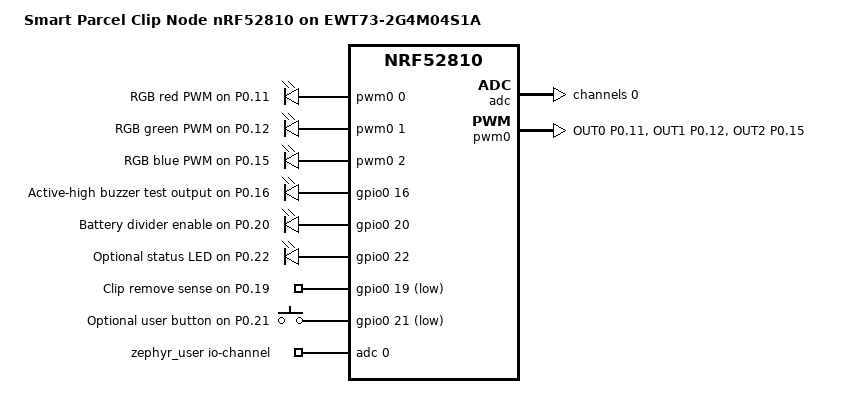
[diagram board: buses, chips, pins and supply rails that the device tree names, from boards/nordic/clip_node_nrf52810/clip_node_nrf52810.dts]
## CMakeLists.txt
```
cmake_minimum_required(VERSION 3.20.0)

list(APPEND BOARD_ROOT ${CMAKE_CURRENT_SOURCE_DIR})

find_package(Zephyr REQUIRED HINTS $ENV{ZEPHYR_BASE})
project(clip_node_nrf52810)

target_sources(app PRIVATE
  src/main.c
  src/early_gpio_test.c
  src/clip_state.c
  src/ble_clip_service.c
  src/led_rgb.c
  src/buzzer.c
  src/remove_sensor.c
  src/battery_monitor.c
  src/clip_protocol.c
)
```

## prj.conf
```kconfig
# Core runtime
CONFIG_MAIN_STACK_SIZE=768
CONFIG_HEAP_MEM_POOL_SIZE=256

# Logging
CONFIG_LOG=n
CONFIG_USE_SEGGER_RTT=n
CONFIG_LOG_BACKEND_RTT=n

# BLE Peripheral for the first real hardware loop.
CONFIG_BT=y
CONFIG_BT_PERIPHERAL=y
CONFIG_BT_DEVICE_NAME="SPS-F02-20260611-0001"
CONFIG_BT_MAX_CONN=1

# GPIO / PWM / ADC hardware validation
CONFIG_GPIO=y
CONFIG_PWM=y
CONFIG_ADC=y
CONFIG_CLOCK_CONTROL_NRF_K32SRC_RC=y
# CONFIG_CLOCK_CONTROL_NRF_K32SRC_XTAL is not set

# Workqueue and debug
CONFIG_SYSTEM_WORKQUEUE_STACK_SIZE=768
CONFIG_ASSERT=n
```

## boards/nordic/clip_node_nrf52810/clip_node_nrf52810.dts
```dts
/dts-v1/;
#include <nordic/nrf52810_qfaa.dtsi>
#include <zephyr/dt-bindings/adc/adc.h>
#include <zephyr/dt-bindings/adc/nrf-saadc.h>
#include <zephyr/dt-bindings/gpio/gpio.h>
#include <zephyr/dt-bindings/pinctrl/nrf-pinctrl.h>
#include <zephyr/dt-bindings/pwm/pwm.h>

/ {
	model = "Smart Parcel Clip Node nRF52810 on EWT73-2G4M04S1A";
	compatible = "smartparcel,clip-node-nrf52810";

	chosen {
		zephyr,sram = &sram0;
		zephyr,flash = &flash0;
	};

	aliases {
		watchdog0 = &wdt0;
		led-red-pwm = &led_r_pwm;
		led-green-pwm = &led_g_pwm;
		led-blue-pwm = &led_b_pwm;
		buzzer-gpio = &buzzer_gpio;
		remove-sense = &remove_sense;
		bat-adc = &zephyr_user;
		bat-div-en = &bat_div_en;
		user-btn = &user_btn;
		status-led = &status_led;
	};

	pwm_leds {
		compatible = "pwm-leds";

		led_r_pwm: led_r_pwm {
			pwms = <&pwm0 0 PWM_MSEC(1) PWM_POLARITY_NORMAL>;
			label = "RGB red PWM on P0.11";
		};

		led_g_pwm: led_g_pwm {
			pwms = <&pwm0 1 PWM_MSEC(1) PWM_POLARITY_NORMAL>;
			label = "RGB green PWM on P0.12";
		};

		led_b_pwm: led_b_pwm {
			pwms = <&pwm0 2 PWM_MSEC(1) PWM_POLARITY_NORMAL>;
			label = "RGB blue PWM on P0.15";
		};
	};

	clip_outputs {
		compatible = "gpio-leds";

		buzzer_gpio: buzzer_gpio {
			gpios = <&gpio0 16 GPIO_ACTIVE_HIGH>;
			label = "Active-high buzzer test output on P0.16";
		};

		bat_div_en: bat_div_en {
			gpios = <&gpio0 20 GPIO_ACTIVE_HIGH>;
			label = "Battery divider enable on P0.20";
		};

		status_led: status_led {
			gpios = <&gpio0 22 GPIO_ACTIVE_HIGH>;
			label = "Optional status LED on P0.22";
		};
	};

	clip_inputs {
		compatible = "gpio-keys";

		remove_sense: remove_sense {
			gpios = <&gpio0 19 (GPIO_PULL_UP | GPIO_ACTIVE_LOW)>;
			label = "Clip remove sense on P0.19";
		};

		user_btn: user_btn {
			gpios = <&gpio0 21 (GPIO_PULL_UP | GPIO_ACTIVE_LOW)>;
			label = "Optional user button on P0.21";
		};
	};

	zephyr_user: zephyr,user {
		io-channels = <&adc 0>;
	};
};

&adc {
	status = "okay";
	#address-cells = <1>;
	#size-cells = <0>;

	channel@0 {
		reg = <0>;
		zephyr,gain = "ADC_GAIN_1_6";
		zephyr,reference = "ADC_REF_INTERNAL";
		zephyr,acquisition-time = <ADC_ACQ_TIME_DEFAULT>;
		zephyr,input-positive = <NRF_SAADC_AIN0>;
	};
};

&gpiote {
	status = "okay";
};

&gpio0 {
	status = "okay";
};

&pinctrl {
	pwm0_default: pwm0_default {
		group1 {
			psels = <NRF_PSEL(PWM_OUT0, 0, 11)>,
				<NRF_PSEL(PWM_OUT1, 0, 12)>,
				<NRF_PSEL(PWM_OUT2, 0, 15)>;
		};
	};

	pwm0_sleep: pwm0_sleep {
		group1 {
			psels = <NRF_PSEL(PWM_OUT0, 0, 11)>,
				<NRF_PSEL(PWM_OUT1, 0, 12)>,
				<NRF_PSEL(PWM_OUT2, 0, 15)>;
			low-power-enable;
		};
	};
};

&pwm0 {
	status = "okay";
	pinctrl-0 = <&pwm0_default>;
	pinctrl-1 = <&pwm0_sleep>;
	pinctrl-names = "default", "sleep";
};

&uart0 {
	status = "disabled";
};
```

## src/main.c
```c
#include <zephyr/kernel.h>
#include <zephyr/logging/log.h>

#include "buzzer.h"
#include "battery_monitor.h"
#include "ble_clip_service.h"
#include "clip_protocol.h"
#include "clip_state.h"
#include "led_rgb.h"
#include "remove_sensor.h"

LOG_MODULE_REGISTER(main_app, LOG_LEVEL_INF);

#define ALERT_MAX_DURATION_MS 30000U
#define BINDING_TOKEN_MAX_LEN 8U

typedef struct {
    uint32_t tag_id;
    uint8_t binding_token[BINDING_TOKEN_MAX_LEN];
    uint8_t binding_token_len;
    uint8_t device_config;
    clip_state_t last_state;
    bool bound;
} clip_runtime_store_t;

static clip_runtime_store_t runtime_store = {
    .tag_id = 0x00000001,
};

static struct k_work_delayable alert_timeout_work;

static void send_event_simple(uint8_t event_id, const uint8_t *payload, uint8_t len)
{
    uint8_t frame[32];
    uint8_t frame_len = clip_protocol_build_event(event_id, payload, len, frame, sizeof(frame));

    if (frame_len > 0) {
        ble_clip_service_send_event(frame, frame_len);
    }
}

static clip_state_t default_non_alert_state(void)
{
    return runtime_store.bound ? CLIP_STATE_BOUND : CLIP_STATE_IDLE;
}

static void set_state(clip_state_t new_state)
{
    clip_state_set(new_state);
    runtime_store.last_state = new_state;
}

static void stop_alert_outputs(void)
{
    k_work_cancel_delayable(&alert_timeout_work);
    /*
     * Buzzer output is intentionally disabled during the current BLE bring-up
     * stage. Battery drive capability is not yet sufficient to support the
     * buzzer load together with the rest of the system behavior.
     */
    /* buzzer_stop(); */
    led_rgb_off();
}

static void stop_alert_and_restore_state(void)
{
    stop_alert_outputs();
    set_state(default_non_alert_state());
}

static void alert_timeout_handler(struct k_work *work)
{
    ARG_UNUSED(work);
    LOG_INF("WAKE_TAG timeout reached, stopping alert");
    stop_alert_and_restore_state();
}

static void start_finding_alert(void)
{
    set_state(CLIP_STATE_ALERTING);
    led_rgb_effect_finding();
    /* buzzer_play(BUZZER_PATTERN_ALERT); */
    k_work_reschedule(&alert_timeout_work, K_MSEC(ALERT_MAX_DURATION_MS));
}

static void send_status_report(void)
{
    uint16_t millivolts = 0;
    battery_state_t battery_state = battery_monitor_sample_once_mv(&millivolts);
    uint8_t battery_payload[3] = {
        (uint8_t)battery_state,
        (uint8_t)(millivolts & 0xFFU),
        (uint8_t)(millivolts >> 8),
    };

    if (battery_state != BATTERY_STATE_OK) {
        set_state(CLIP_STATE_LOW_BATTERY);
        send_event_simple(CLIP_EVT_BATTERY_LOW, battery_payload, sizeof(battery_payload));
    }

    uint8_t payload[8] = {
        (uint8_t)clip_state_get(),
        (uint8_t)battery_state,
        runtime_store.bound ? 1U : 0U,
        remove_sensor_is_removed() ? 1U : 0U,
        (uint8_t)(millivolts & 0xFFU),
        (uint8_t)(millivolts >> 8),
        (uint8_t)(runtime_store.tag_id & 0xFFU),
        (uint8_t)((runtime_store.tag_id >> 8) & 0xFFU),
    };

    send_event_simple(CLIP_EVT_STATUS_REPORT, payload, sizeof(payload));
}

static void send_ack(uint8_t command, uint8_t status)
{
    uint8_t ack[2] = {command, status};
    send_event_simple(CLIP_EVT_COMMAND_ACK, ack, sizeof(ack));
}

static void handle_remove_change(bool removed)
{
    if (removed) {
        set_state(CLIP_STATE_REMOVED);
        send_event_simple(CLIP_EVT_CLIP_REMOVED, NULL, 0);
        return;
    }

    set_state(CLIP_STATE_CONFIRMED);
    send_event_simple(CLIP_EVT_CLIP_RETURNED, NULL, 0);
}

static void set_binding(const clip_command_frame_t *cmd)
{
    uint8_t token_len = cmd->len;

    if (token_len > BINDING_TOKEN_MAX_LEN) {
        token_len = BINDING_TOKEN_MAX_LEN;
    }

    for (uint8_t index = 0; index < token_len; index++) {
        runtime_store.binding_token[index] = cmd->payload[index];
    }

    runtime_store.binding_token_len = token_len;
    runtime_store.bound = true;
    set_state(CLIP_STATE_BOUND);
    LOG_INF("binding token updated, len=%u", token_len);
}

static void clear_binding(void)
{
    for (uint8_t index = 0; index < BINDING_TOKEN_MAX_LEN; index++) {
        runtime_store.binding_token[index] = 0;
    }

    runtime_store.binding_token_len = 0;
    runtime_store.bound = false;
    set_state(CLIP_STATE_IDLE);
    LOG_INF("binding cleared");
}

static void handle_command_frame(const uint8_t *data, uint8_t len)
{
    uint8_t ack_status = 0x00;
    clip_command_frame_t cmd = {0};

    if (!clip_protocol_parse_command(data, len, &cmd)) {
        LOG_WRN("invalid command frame");
        return;
    }

    LOG_INF("command recv: 0x%02x len=%u", cmd.cmd, cmd.len);

    switch (cmd.cmd) {
    case CLIP_CMD_PING:
        send_event_simple(CLIP_EVT_PONG, NULL, 0);
        break;
    case CLIP_CMD_WAKE_TAG:
        start_finding_alert();
        break;
    case CLIP_CMD_STOP_ALERT:
        stop_alert_and_restore_state();
        break;
    case CLIP_CMD_SET_BINDING:
        set_binding(&cmd);
        break;
    case CLIP_CMD_CLEAR_BINDING:
        clear_binding();
        break;
    case CLIP_CMD_READ_STATUS:
        send_status_report();
        break;
    default:
        ack_status = 0x01;
        set_state(CLIP_STATE_EXCEPTION);
        led_rgb_effect_exception();
        break;
    }

    send_ack(cmd.cmd, ack_status);
}

int main(void)
{
    LOG_INF("clip node boot: EWT73-2G4M04S1A / E73-2G4M04S1A");
    LOG_INF("BLE name: %s", CONFIG_BT_DEVICE_NAME);

    k_work_init_delayable(&alert_timeout_work, alert_timeout_handler);

    clip_state_init();
    /* buzzer_init(); */
    led_rgb_init();
    remove_sensor_init(handle_remove_change);
    battery_monitor_init();

    runtime_store.last_state = clip_state_get();

    if (ble_clip_service_init(handle_command_frame) != 0) {
        set_state(CLIP_STATE_EXCEPTION);
    }

    send_event_simple(CLIP_EVT_BOOT, NULL, 0);

    while (1) {
        remove_sensor_poll_once();
        k_sleep(K_MSEC(200));
    }

    return 0;
}
```

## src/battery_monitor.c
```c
#include "battery_monitor.h"

#include <zephyr/devicetree.h>
#include <zephyr/drivers/adc.h>
#include <zephyr/drivers/gpio.h>
#include <zephyr/kernel.h>
#include <zephyr/logging/log.h>

LOG_MODULE_REGISTER(battery_monitor, LOG_LEVEL_INF);

#define BATTERY_LOW_MV_MIN       2700
#define BATTERY_CRITICAL_MV_MIN  2400
#define BATTERY_DIVIDER_NUM      2
#define BATTERY_DIVIDER_DEN      1

static const struct adc_dt_spec battery_adc = ADC_DT_SPEC_GET_BY_IDX(DT_ALIAS(bat_adc), 0);
static const struct gpio_dt_spec divider_enable_gpio = GPIO_DT_SPEC_GET(DT_ALIAS(bat_div_en), gpios);

static battery_state_t battery_state = BATTERY_STATE_OK;

static battery_state_t convert_mv_to_state(uint16_t millivolts)
{
    if (millivolts < BATTERY_CRITICAL_MV_MIN) {
        return BATTERY_STATE_CRITICAL;
    }
    if (millivolts < BATTERY_LOW_MV_MIN) {
        return BATTERY_STATE_LOW;
    }
    return BATTERY_STATE_OK;
}

static void set_divider_enabled(bool enabled)
{
    if (gpio_is_ready_dt(&divider_enable_gpio)) {
        (void)gpio_pin_set_dt(&divider_enable_gpio, enabled ? 1 : 0);
    }
}

void battery_monitor_init(void)
{
    if (!gpio_is_ready_dt(&divider_enable_gpio)) {
        LOG_ERR("battery divider GPIO is not ready");
    } else {
        (void)gpio_pin_configure_dt(&divider_enable_gpio, GPIO_OUTPUT_INACTIVE);
    }

    if (!adc_is_ready_dt(&battery_adc)) {
        LOG_ERR("battery ADC is not ready");
    } else {
        int err = adc_channel_setup_dt(&battery_adc);
        if (err) {
            LOG_ERR("battery ADC channel setup failed: %d", err);
        }
    }

    LOG_INF("battery monitor init on P0.02/AIN0, divider enable P0.20");
}

battery_state_t battery_monitor_sample_once_mv(uint16_t *out_mv)
{
    int16_t raw_sample = 0;
    int32_t millivolts = 0;
    int err;
    struct adc_sequence sequence = {
        .buffer = &raw_sample,
        .buffer_size = sizeof(raw_sample),
    };

    set_divider_enabled(true);
    k_sleep(K_MSEC(3));

    err = adc_sequence_init_dt(&battery_adc, &sequence);
    if (err == 0) {
        err = adc_read_dt(&battery_adc, &sequence);
    }

    set_divider_enabled(false);

    if (err) {
        LOG_ERR("battery ADC sample failed: %d", err);
        battery_state = BATTERY_STATE_CRITICAL;
        if (out_mv) {
            *out_mv = 0;
        }
        return battery_state;
    }

    millivolts = raw_sample;
    err = adc_raw_to_millivolts_dt(&battery_adc, &millivolts);
    if (err) {
        LOG_WRN("battery ADC mV conversion fallback, raw=%d err=%d", raw_sample, err);
        millivolts = 0;
    }

    millivolts = (millivolts * BATTERY_DIVIDER_NUM) / BATTERY_DIVIDER_DEN;
    if (millivolts < 0) {
        millivolts = 0;
    }
    if (millivolts > UINT16_MAX) {
        millivolts = UINT16_MAX;
    }

    battery_state = convert_mv_to_state((uint16_t)millivolts);

    if (out_mv) {
        *out_mv = (uint16_t)millivolts;
    }

    LOG_INF("battery sample: %u mV, state=%s",
            (uint16_t)millivolts,
            battery_monitor_state_to_string(battery_state));
    return battery_state;
}

battery_state_t battery_monitor_get_state(void)
{
    return battery_state;
}

const char *battery_monitor_state_to_string(battery_state_t state)
{
    switch (state) {
    case BATTERY_STATE_OK:
        return "OK";
    case BATTERY_STATE_LOW:
        return "LOW";
    case BATTERY_STATE_CRITICAL:
        return "CRITICAL";
    default:
        return "UNKNOWN";
    }
}
```

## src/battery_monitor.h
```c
#ifndef BATTERY_MONITOR_H
#define BATTERY_MONITOR_H

#include <stdint.h>

#ifdef __cplusplus
extern "C" {
#endif

typedef enum {
    BATTERY_STATE_OK = 0,
    BATTERY_STATE_LOW,
    BATTERY_STATE_CRITICAL,
} battery_state_t;

void battery_monitor_init(void);
battery_state_t battery_monitor_sample_once_mv(uint16_t *out_mv);
battery_state_t battery_monitor_get_state(void);
const char *battery_monitor_state_to_string(battery_state_t state);

#ifdef __cplusplus
}
#endif

#endif
```

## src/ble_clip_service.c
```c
#include "ble_clip_service.h"

#include <errno.h>
#include <string.h>
#include <zephyr/logging/log.h>
#include <zephyr/kernel.h>
#include <zephyr/sys/util.h>
#if IS_ENABLED(CONFIG_BT)
#include <zephyr/bluetooth/bluetooth.h>
#include <zephyr/bluetooth/conn.h>
#include <zephyr/bluetooth/gatt.h>
#include <zephyr/bluetooth/hci.h>
#endif

LOG_MODULE_REGISTER(ble_clip_service, LOG_LEVEL_INF);

static ble_clip_cmd_handler_t g_cmd_handler;

#if IS_ENABLED(CONFIG_BT)

#define BT_UUID_SPS_TAG_SERVICE_VAL \
    BT_UUID_128_ENCODE(0x8f7e9000, 0x5d1b, 0x4c2f, 0x9e8a, 0x5f2f5b7b0001)
#define BT_UUID_SPS_TAG_CMD_WRITE_VAL \
    BT_UUID_128_ENCODE(0x8f7e9001, 0x5d1b, 0x4c2f, 0x9e8a, 0x5f2f5b7b0001)
#define BT_UUID_SPS_TAG_EVENT_NOTIFY_VAL \
    BT_UUID_128_ENCODE(0x8f7e9002, 0x5d1b, 0x4c2f, 0x9e8a, 0x5f2f5b7b0001)
#define BT_UUID_SPS_TAG_STATUS_READ_VAL \
    BT_UUID_128_ENCODE(0x8f7e9003, 0x5d1b, 0x4c2f, 0x9e8a, 0x5f2f5b7b0001)

static struct bt_uuid_128 sps_tag_service_uuid = BT_UUID_INIT_128(BT_UUID_SPS_TAG_SERVICE_VAL);
static struct bt_uuid_128 sps_tag_cmd_write_uuid = BT_UUID_INIT_128(BT_UUID_SPS_TAG_CMD_WRITE_VAL);
static struct bt_uuid_128 sps_tag_event_notify_uuid = BT_UUID_INIT_128(BT_UUID_SPS_TAG_EVENT_NOTIFY_VAL);
static struct bt_uuid_128 sps_tag_status_read_uuid = BT_UUID_INIT_128(BT_UUID_SPS_TAG_STATUS_READ_VAL);

static struct bt_conn *current_conn;
static bool notify_enabled;
static uint8_t last_status_value[] = "SPS:OK";
static uint8_t last_event[20];
static uint8_t last_event_len;
static struct k_work_delayable advertising_work;

static ssize_t cmd_write(struct bt_conn *conn,
                         const struct bt_gatt_attr *attr,
                         const void *buf,
                         uint16_t len,
                         uint16_t offset,
                         uint8_t flags)
{
    ARG_UNUSED(conn);
    ARG_UNUSED(attr);
    ARG_UNUSED(flags);

    if (offset != 0U) {
        return BT_GATT_ERR(BT_ATT_ERR_INVALID_OFFSET);
    }

    if (!g_cmd_handler) {
        LOG_WRN("command received before handler registration");
        return len;
    }

    LOG_INF("GATT command write len=%u", len);
    g_cmd_handler((const uint8_t *)buf, (uint8_t)MIN(len, UINT8_MAX));
    return len;
}

static void event_ccc_changed(const struct bt_gatt_attr *attr, uint16_t value)
{
    ARG_UNUSED(attr);
    notify_enabled = (value == BT_GATT_CCC_NOTIFY);
    LOG_INF("event notify %s", notify_enabled ? "enabled" : "disabled");
}

static ssize_t status_read(struct bt_conn *conn,
                           const struct bt_gatt_attr *attr,
                           void *buf,
                           uint16_t len,
                           uint16_t offset)
{
    ARG_UNUSED(conn);
    ARG_UNUSED(attr);

    if (last_event_len > 0U) {
        return bt_gatt_attr_read(conn, attr, buf, len, offset, last_event, last_event_len);
    }

    return bt_gatt_attr_read(conn, attr, buf, len, offset, last_status_value, sizeof(last_status_value) - 1U);
}

BT_GATT_SERVICE_DEFINE(sps_tag_svc,
    BT_GATT_PRIMARY_SERVICE(&sps_tag_service_uuid.uuid),
    BT_GATT_CHARACTERISTIC(&sps_tag_cmd_write_uuid.uuid,
                           BT_GATT_CHRC_WRITE | BT_GATT_CHRC_WRITE_WITHOUT_RESP,
                           BT_GATT_PERM_WRITE,
                           NULL,
                           cmd_write,
                           NULL),
    BT_GATT_CHARACTERISTIC(&sps_tag_event_notify_uuid.uuid,
                           BT_GATT_CHRC_NOTIFY,
                           BT_GATT_PERM_NONE,
                           NULL,
                           NULL,
                           NULL),
    BT_GATT_CCC(event_ccc_changed, BT_GATT_PERM_READ | BT_GATT_PERM_WRITE),
    BT_GATT_CHARACTERISTIC(&sps_tag_status_read_uuid.uuid,
                           BT_GATT_CHRC_READ,
                           BT_GATT_PERM_READ,
                           status_read,
                           NULL,
                           NULL),
);

static const struct bt_data ad[] = {
    BT_DATA_BYTES(BT_DATA_FLAGS, (BT_LE_AD_GENERAL | BT_LE_AD_NO_BREDR)),
    BT_DATA_BYTES(BT_DATA_UUID128_ALL, BT_UUID_SPS_TAG_SERVICE_VAL),
};

static const struct bt_data sd[] = {
    BT_DATA(BT_DATA_NAME_COMPLETE, CONFIG_BT_DEVICE_NAME, sizeof(CONFIG_BT_DEVICE_NAME) - 1),
};

static int start_advertising_once(void)
{
    int err = bt_le_adv_start(BT_LE_ADV_CONN_FAST_1, ad, ARRAY_SIZE(ad), sd, ARRAY_SIZE(sd));

    if (err == -EALREADY) {
        return 0;
    }
    if (err) {
        LOG_ERR("advertising start failed: %d", err);
        return err;
    }

    LOG_INF("BLE advertising started");
    return 0;
}

static void advertising_work_handler(struct k_work *work)
{
    ARG_UNUSED(work);

    int err = start_advertising_once();
    if (err) {
        LOG_WRN("advertising restart failed: %d, retrying", err);
        k_work_schedule(&advertising_work, K_MSEC(500));
    }
}

static void schedule_advertising_restart(k_timeout_t delay)
{
    (void)k_work_reschedule(&advertising_work, delay);
}

static void connected(struct bt_conn *conn, uint8_t err)
{
    if (err) {
        LOG_WRN("BLE connection failed: %u", err);
        schedule_advertising_restart(K_MSEC(250));
        return;
    }

    current_conn = bt_conn_ref(conn);
    LOG_INF("BLE connected");
}

static void disconnected(struct bt_conn *conn, uint8_t reason)
{
    ARG_UNUSED(conn);

    if (current_conn) {
        bt_conn_unref(current_conn);
        current_conn = NULL;
    }

    notify_enabled = false;
    LOG_INF("BLE disconnected, reason=%u", reason);
    schedule_advertising_restart(K_MSEC(250));
}

BT_CONN_CB_DEFINE(conn_callbacks) = {
    .connected = connected,
    .disconnected = disconnected,
};

#endif

int ble_clip_service_init(ble_clip_cmd_handler_t handler)
{
    g_cmd_handler = handler;

#if IS_ENABLED(CONFIG_BT)
    int err = bt_enable(NULL);
    if (err) {
        LOG_ERR("bt_enable failed: %d", err);
        return err;
    }

    LOG_INF("BLE name: %s", CONFIG_BT_DEVICE_NAME);

    k_work_init_delayable(&advertising_work, advertising_work_handler);
    schedule_advertising_restart(K_NO_WAIT);
#endif

    LOG_INF("BLE init done (bt=%d)", IS_ENABLED(CONFIG_BT));
    return 0;
}

int ble_clip_service_send_event(const uint8_t *data, uint8_t len)
{
#if IS_ENABLED(CONFIG_BT)
    if (data && len > 0U) {
        last_event_len = MIN(len, sizeof(last_event));
        memcpy(last_event, data, last_event_len);
    }

    if (!notify_enabled) {
        LOG_INF("BLE event len=%u cached, notify not subscribed", len);
        return 0;
    }

    int err = bt_gatt_notify(NULL, &sps_tag_svc.attrs[4], data, len);
    if (err) {
        LOG_WRN("BLE notify failed: %d", err);
        return err;
    }
#else
    ARG_UNUSED(data);
#endif

    LOG_INF("BLE event sent, len=%u", len);
    return 0;
}

void ble_clip_service_mock_receive_cmd(const uint8_t *data, uint8_t len)
{
    if (!g_cmd_handler) {
        return;
    }

    g_cmd_handler(data, len);
}
```

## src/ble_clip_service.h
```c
#ifndef BLE_CLIP_SERVICE_H
#define BLE_CLIP_SERVICE_H

#include <stdint.h>

#ifdef __cplusplus
extern "C" {
#endif

typedef void (*ble_clip_cmd_handler_t)(const uint8_t *data, uint8_t len);

int ble_clip_service_init(ble_clip_cmd_handler_t handler);
int ble_clip_service_send_event(const uint8_t *data, uint8_t len);

/* 用于早期联调：模拟收到网关命令 */
void ble_clip_service_mock_receive_cmd(const uint8_t *data, uint8_t len);

#ifdef __cplusplus
}
#endif

#endif
```

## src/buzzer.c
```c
#include "buzzer.h"

#include <zephyr/devicetree.h>
#include <zephyr/drivers/gpio.h>
#include <zephyr/sys/util.h>

static const struct gpio_dt_spec buzzer_gpio = GPIO_DT_SPEC_GET(DT_ALIAS(buzzer_gpio), gpios);

static void set_buzzer_active(void)
{
    if (gpio_is_ready_dt(&buzzer_gpio)) {
        (void)gpio_pin_set_dt(&buzzer_gpio, 1);
    }
}

void buzzer_init(void)
{
    if (!gpio_is_ready_dt(&buzzer_gpio)) {
        return;
    }

    (void)gpio_pin_configure_dt(&buzzer_gpio, GPIO_OUTPUT_ACTIVE);
}

void buzzer_play(buzzer_pattern_t pattern)
{
    ARG_UNUSED(pattern);

    set_buzzer_active();
}

void buzzer_stop(void)
{
    set_buzzer_active();
}
```

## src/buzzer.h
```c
#ifndef BUZZER_H
#define BUZZER_H

#include <stdint.h>

#ifdef __cplusplus
extern "C" {
#endif

typedef enum {
    BUZZER_PATTERN_SUCCESS = 0,
    BUZZER_PATTERN_ERROR,
    BUZZER_PATTERN_ALERT,
    BUZZER_PATTERN_CRITICAL,
} buzzer_pattern_t;

void buzzer_init(void);
void buzzer_play(buzzer_pattern_t pattern);
void buzzer_stop(void);

#ifdef __cplusplus
}
#endif

#endif
```

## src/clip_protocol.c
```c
#include "clip_protocol.h"

static uint8_t protocol_xor_checksum(const uint8_t *data, uint8_t len)
{
    uint8_t v = 0;

    for (uint8_t i = 0; i < len; i++) {
        v ^= data[i];
    }

    return v;
}

bool clip_protocol_parse_command(const uint8_t *data, uint8_t size, clip_command_frame_t *out_cmd)
{
    if (!data || !out_cmd || size < 4) {
        return false;
    }

    if (data[0] != CLIP_PROTO_FRAME_HEADER) {
        return false;
    }

    uint8_t payload_len = data[2];
    if (payload_len > CLIP_PROTO_MAX_PAYLOAD_LEN) {
        return false;
    }

    uint8_t expected_size = (uint8_t)(4 + payload_len);
    if (size != expected_size) {
        return false;
    }

    uint8_t checksum = protocol_xor_checksum(data, (uint8_t)(3 + payload_len));
    if (checksum != data[3 + payload_len]) {
        return false;
    }

    out_cmd->cmd = data[1];
    out_cmd->len = payload_len;
    for (uint8_t i = 0; i < payload_len; i++) {
        out_cmd->payload[i] = data[3 + i];
    }

    return true;
}

uint8_t clip_protocol_build_event(uint8_t evt, const uint8_t *payload, uint8_t len, uint8_t *out_buf, uint8_t out_size)
{
    if (!out_buf || len > CLIP_PROTO_MAX_PAYLOAD_LEN) {
        return 0;
    }

    uint8_t total = (uint8_t)(4 + len);
    if (out_size < total) {
        return 0;
    }

    out_buf[0] = CLIP_PROTO_FRAME_HEADER;
    out_buf[1] = evt;
    out_buf[2] = len;

    for (uint8_t i = 0; i < len; i++) {
        out_buf[3 + i] = payload ? payload[i] : 0;
    }

    out_buf[3 + len] = protocol_xor_checksum(out_buf, (uint8_t)(3 + len));
    return total;
}
```

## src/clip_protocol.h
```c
#ifndef CLIP_PROTOCOL_H
#define CLIP_PROTOCOL_H

#include <stdbool.h>
#include <stdint.h>

#ifdef __cplusplus
extern "C" {
#endif

#define CLIP_PROTO_MAX_PAYLOAD_LEN 16
#define CLIP_PROTO_FRAME_HEADER    0xA5

typedef enum {
    CLIP_CMD_PING          = 0x01,
    CLIP_CMD_WAKE_TAG      = 0x02,
    CLIP_CMD_STOP_ALERT    = 0x03,
    CLIP_CMD_SET_BINDING   = 0x04,
    CLIP_CMD_CLEAR_BINDING = 0x05,
    CLIP_CMD_READ_STATUS   = 0x06,
} clip_command_t;

typedef enum {
    CLIP_EVT_BOOT                  = 0x81,
    CLIP_EVT_COMMAND_ACK           = 0x82,
    CLIP_EVT_CLIP_REMOVED          = 0x83,
    CLIP_EVT_CLIP_RETURNED         = 0x84,
    CLIP_EVT_BATTERY_LOW           = 0x85,
    CLIP_EVT_BATTERY_STATE_CHANGED = 0x86,
    CLIP_EVT_STATUS_REPORT         = 0x87,
    CLIP_EVT_PONG                  = 0x88,
} clip_event_t;

typedef struct {
    uint8_t cmd;
    uint8_t len;
    uint8_t payload[CLIP_PROTO_MAX_PAYLOAD_LEN];
} clip_command_frame_t;

bool clip_protocol_parse_command(const uint8_t *data, uint8_t size, clip_command_frame_t *out_cmd);
uint8_t clip_protocol_build_event(uint8_t evt, const uint8_t *payload, uint8_t len, uint8_t *out_buf, uint8_t out_size);

#ifdef __cplusplus
}
#endif

#endif
```

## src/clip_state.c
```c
#include "clip_state.h"

#include <zephyr/logging/log.h>

LOG_MODULE_REGISTER(clip_state, LOG_LEVEL_INF);

static clip_state_t g_state = CLIP_STATE_IDLE;

void clip_state_init(void)
{
    g_state = CLIP_STATE_IDLE;
    LOG_INF("state init: %s", clip_state_to_string(g_state));
}

clip_state_t clip_state_get(void)
{
    return g_state;
}

void clip_state_set(clip_state_t new_state)
{
    if (new_state == g_state) {
        return;
    }

    LOG_INF("state change: %s -> %s",
            clip_state_to_string(g_state),
            clip_state_to_string(new_state));
    g_state = new_state;
}

const char *clip_state_to_string(clip_state_t state)
{
    switch (state) {
    case CLIP_STATE_IDLE: return "idle";
    case CLIP_STATE_BOUND: return "bound";
    case CLIP_STATE_AUTHORIZED: return "authorized";
    case CLIP_STATE_ALERTING: return "alerting";
    case CLIP_STATE_REMOVED: return "removed";
    case CLIP_STATE_CONFIRMED: return "confirmed";
    case CLIP_STATE_LOW_BATTERY: return "low_battery";
    case CLIP_STATE_EXCEPTION: return "exception";
    default: return "unknown";
    }
}
```

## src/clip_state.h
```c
#ifndef CLIP_STATE_H
#define CLIP_STATE_H

#ifdef __cplusplus
extern "C" {
#endif

typedef enum {
    CLIP_STATE_IDLE = 0,
    CLIP_STATE_BOUND,
    CLIP_STATE_AUTHORIZED,
    CLIP_STATE_ALERTING,
    CLIP_STATE_REMOVED,
    CLIP_STATE_CONFIRMED,
    CLIP_STATE_LOW_BATTERY,
    CLIP_STATE_EXCEPTION,
} clip_state_t;

void clip_state_init(void);
clip_state_t clip_state_get(void);
void clip_state_set(clip_state_t new_state);
const char *clip_state_to_string(clip_state_t state);

#ifdef __cplusplus
}
#endif

#endif
```

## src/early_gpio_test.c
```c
#include <zephyr/init.h>
#include <hal/nrf_gpio.h>
#include <hal/nrf_power.h>

#define TEST_RGB_R_PIN 11
#define TEST_RGB_G_PIN 12
#define TEST_RGB_B_PIN 15
#define POWER_ON_RESET_MAGIC 0xA5U

static int early_gpio_test_init(void)
{
    uint32_t reset_marker = nrf_power_gpregret_get(NRF_POWER, 0U);

    if (reset_marker != POWER_ON_RESET_MAGIC) {
        nrf_power_gpregret_set(NRF_POWER, 0U, POWER_ON_RESET_MAGIC);
        NVIC_SystemReset();
    }

    nrf_power_gpregret_set(NRF_POWER, 0U, 0U);

    nrf_gpio_cfg_output(TEST_RGB_R_PIN);
    nrf_gpio_cfg_output(TEST_RGB_G_PIN);
    nrf_gpio_cfg_output(TEST_RGB_B_PIN);
    nrf_gpio_pin_clear(TEST_RGB_R_PIN);
    nrf_gpio_pin_clear(TEST_RGB_G_PIN);
    nrf_gpio_pin_clear(TEST_RGB_B_PIN);

    return 0;
}

SYS_INIT(early_gpio_test_init, PRE_KERNEL_1, 0);
```

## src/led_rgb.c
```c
#include "led_rgb.h"

#include <zephyr/devicetree.h>
#include <zephyr/drivers/pwm.h>
#include <zephyr/kernel.h>
#include <zephyr/logging/log.h>
#include <zephyr/sys/util.h>

LOG_MODULE_REGISTER(led_rgb, LOG_LEVEL_INF);

#define RGB_LEVEL_MAX 6
#define RGB_RAINBOW_STEP_MS 60U
#define RGB_RAINBOW_BLEND_STEPS 6U

static const struct pwm_dt_spec red_pwm = PWM_DT_SPEC_GET(DT_ALIAS(led_red_pwm));
static const struct pwm_dt_spec green_pwm = PWM_DT_SPEC_GET(DT_ALIAS(led_green_pwm));
static const struct pwm_dt_spec blue_pwm = PWM_DT_SPEC_GET(DT_ALIAS(led_blue_pwm));

static const uint8_t level_to_duty[7] = {0, 2, 5, 10, 20, 40, 70};
static const rgb_level_t rainbow_anchor_levels[] = {
    {.r = 6, .g = 0, .b = 0},
    {.r = 5, .g = 5, .b = 0},
    {.r = 0, .g = 6, .b = 0},
    {.r = 0, .g = 4, .b = 4},
    {.r = 0, .g = 0, .b = 6},
    {.r = 4, .g = 0, .b = 5},
    {.r = 6, .g = 0, .b = 2},
};

static struct k_work_delayable blink_work;
static rgb_level_t blink_level;
static uint32_t blink_on_ms;
static uint32_t blink_off_ms;
static uint8_t blink_cycles_left;
static bool blink_is_on;
static bool rainbow_enabled;
static uint8_t rainbow_index;
static uint8_t rainbow_blend_step;

static int set_one_pwm(const struct pwm_dt_spec *pwm, uint8_t level)
{
    uint32_t pulse_ns;

    if (!pwm_is_ready_dt(pwm)) {
        return -ENODEV;
    }

    pulse_ns = (pwm->period * level_to_duty[level]) / 100U;
    return pwm_set_dt(pwm, pwm->period, pulse_ns);
}

static void apply_level(rgb_level_t level)
{
    if (level.r > RGB_LEVEL_MAX) {
        level.r = RGB_LEVEL_MAX;
    }
    if (level.g > RGB_LEVEL_MAX) {
        level.g = RGB_LEVEL_MAX;
    }
    if (level.b > RGB_LEVEL_MAX) {
        level.b = RGB_LEVEL_MAX;
    }

    (void)set_one_pwm(&red_pwm, level.r);
    (void)set_one_pwm(&green_pwm, level.g);
    (void)set_one_pwm(&blue_pwm, level.b);

    LOG_DBG("RGB set R%d(%d%%) G%d(%d%%) B%d(%d%%)",
            level.r, level_to_duty[level.r],
            level.g, level_to_duty[level.g],
            level.b, level_to_duty[level.b]);
}

static void start_rainbow(void)
{
    rainbow_enabled = true;
    blink_is_on = false;
    rainbow_index = 0U;
    rainbow_blend_step = 0U;
    k_work_schedule(&blink_work, K_NO_WAIT);
}

static uint8_t blend_channel(uint8_t start, uint8_t end, uint8_t step, uint8_t total_steps)
{
    return (uint8_t)(((start * (total_steps - step)) + (end * step)) / total_steps);
}

static rgb_level_t rainbow_current_level(void)
{
    rgb_level_t start = rainbow_anchor_levels[rainbow_index];
    rgb_level_t end = rainbow_anchor_levels[(rainbow_index + 1U) % ARRAY_SIZE(rainbow_anchor_levels)];

    return (rgb_level_t) {
        .r = blend_channel(start.r, end.r, rainbow_blend_step, RGB_RAINBOW_BLEND_STEPS),
        .g = blend_channel(start.g, end.g, rainbow_blend_step, RGB_RAINBOW_BLEND_STEPS),
        .b = blend_channel(start.b, end.b, rainbow_blend_step, RGB_RAINBOW_BLEND_STEPS),
    };
}

static void blink_work_handler(struct k_work *work)
{
    ARG_UNUSED(work);

    if (rainbow_enabled) {
        apply_level(rainbow_current_level());
        rainbow_blend_step++;
        if (rainbow_blend_step > RGB_RAINBOW_BLEND_STEPS) {
            rainbow_blend_step = 0U;
            rainbow_index++;
            if (rainbow_index >= ARRAY_SIZE(rainbow_anchor_levels)) {
                rainbow_index = 0U;
            }
        }
        k_work_schedule(&blink_work, K_MSEC(RGB_RAINBOW_STEP_MS));
        return;
    }

    if (blink_is_on) {
        apply_level((rgb_level_t){0, 0, 0});
        blink_is_on = false;

        if (blink_cycles_left > 0) {
            blink_cycles_left--;
            if (blink_cycles_left == 0) {
                return;
            }
        }

        k_work_schedule(&blink_work, K_MSEC(blink_off_ms));
        return;
    }

    apply_level(blink_level);
    blink_is_on = true;
    k_work_schedule(&blink_work, K_MSEC(blink_on_ms));
}

void led_rgb_init(void)
{
    k_work_init_delayable(&blink_work, blink_work_handler);
    start_rainbow();
    LOG_INF("RGB init on P0.11/P0.12/P0.15, test rainbow enabled");
}

void led_rgb_set_level(rgb_level_t level)
{
    k_work_cancel_delayable(&blink_work);
    rainbow_enabled = false;
    blink_is_on = false;
    apply_level(level);
}

void led_rgb_off(void)
{
    k_work_cancel_delayable(&blink_work);
    start_rainbow();
    LOG_INF("RGB test mode keeps rainbow enabled");
}

void led_rgb_blink(rgb_level_t level, uint32_t on_ms, uint32_t off_ms, uint8_t times)
{
    k_work_cancel_delayable(&blink_work);
    rainbow_enabled = false;

    blink_level = level;
    blink_on_ms = on_ms;
    blink_off_ms = off_ms;
    blink_cycles_left = times;
    blink_is_on = false;

    k_work_schedule(&blink_work, K_NO_WAIT);
    LOG_INF("RGB blink r=%u g=%u b=%u on=%u off=%u times=%u",
            level.r, level.g, level.b, on_ms, off_ms, times);
}

void led_rgb_effect_success(void)
{
    led_rgb_blink((rgb_level_t){.r = 0, .g = 5, .b = 0}, 100, 80, 2);
}

void led_rgb_effect_error(void)
{
    led_rgb_blink((rgb_level_t){.r = 6, .g = 0, .b = 0}, 120, 80, 3);
}

void led_rgb_effect_finding(void)
{
    led_rgb_blink((rgb_level_t){.r = 0, .g = 0, .b = 5}, 150, 350, 0);
}

void led_rgb_effect_exception(void)
{
    led_rgb_blink((rgb_level_t){.r = 6, .g = 2, .b = 0}, 200, 200, 10);
}
```
